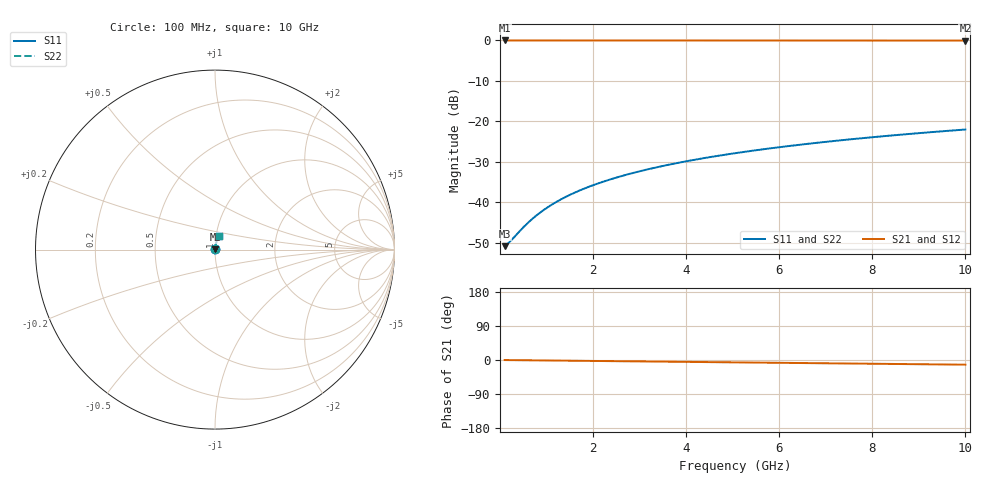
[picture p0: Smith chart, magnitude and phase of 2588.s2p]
# Hz S RI R 50.00
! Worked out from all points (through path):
!   100 points, 100 MHz to 10 GHz, reference 50 ohm
!   highest |S21| = -0.02 dB at 100 MHz (marker M1); lowest = -0.1 dB at 10 GHz (marker M2)
!   group delay of S21, straight-line fit = 3.43 ps
!   lowest |S11| = -50.9 dB at 100 MHz (marker M3), VSWR 1.01, Z = 50.3 + j0.0796 ohm
!   |S11| at or under -10 dB: start of sweep to end of sweep
!   |S22| runs from -50.9 to -22.0 dB; largest |S21 - S12| = 0
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1e8  0.00275 0.000792  0.9972 -0.00215  0.9972 -0.00215  0.00275 0.000792
2e8  0.00277 0.00158  0.9972 -0.0043  0.9972 -0.0043  0.00277 0.00158
5e8  0.00284 0.00396  0.9971 -0.0108  0.9971 -0.0108  0.00284 0.00396
6e8  0.00287 0.00475  0.9971 -0.0129  0.9971 -0.0129  0.00287 0.00475
7e8  0.00289 0.00554  0.9971 -0.0151  0.9971 -0.0151  0.00289 0.00554
9e8  0.00296 0.00712  0.997 -0.0193  0.997 -0.0193  0.00296 0.00712
1.1e9  0.00304 0.0087  0.9968 -0.0236  0.9968 -0.0236  0.00304 0.0087
1.3e9  0.00313 0.0103  0.9967 -0.0279  0.9967 -0.0279  0.00313 0.0103
1.5e9  0.00323 0.0119  0.9965 -0.0322  0.9965 -0.0322  0.00323 0.0119
1.8e9  0.00342 0.0142  0.9963 -0.0387  0.9963 -0.0387  0.00342 0.0142
2.1e9  0.00363 0.0166  0.9959 -0.0451  0.9959 -0.0451  0.00363 0.0166
2.5e9  0.00395 0.0197  0.9954 -0.0537  0.9954 -0.0537  0.00395 0.0197
2.9e9  0.00433 0.0229  0.9949 -0.0623  0.9949 -0.0623  0.00433 0.0229
3.4e9  0.00488 0.0268  0.994 -0.073  0.994 -0.073  0.00488 0.0268
3.8e9  0.00538 0.0299  0.9932 -0.0816  0.9932 -0.0816  0.00538 0.0299
4.2e9  0.00593 0.033  0.9924 -0.0901  0.9924 -0.0901  0.00593 0.033
5.1e9  0.00737 0.04  0.9902 -0.1093  0.9902 -0.1093  0.00737 0.04
5.9e9  0.00888 0.0461  0.9878 -0.1264  0.9878 -0.1264  0.00888 0.0461
6.7e9  0.0106 0.0522  0.9852 -0.1433  0.9852 -0.1433  0.0106 0.0522
7.5e9  0.0125 0.0582  0.9822 -0.1602  0.9822 -0.1602  0.0125 0.0582
8.4e9  0.0149 0.0649  0.9784 -0.1792  0.9784 -0.1792  0.0149 0.0649
1e10  0.0199 0.0766  0.9707 -0.2126  0.9707 -0.2126  0.0199 0.0766
